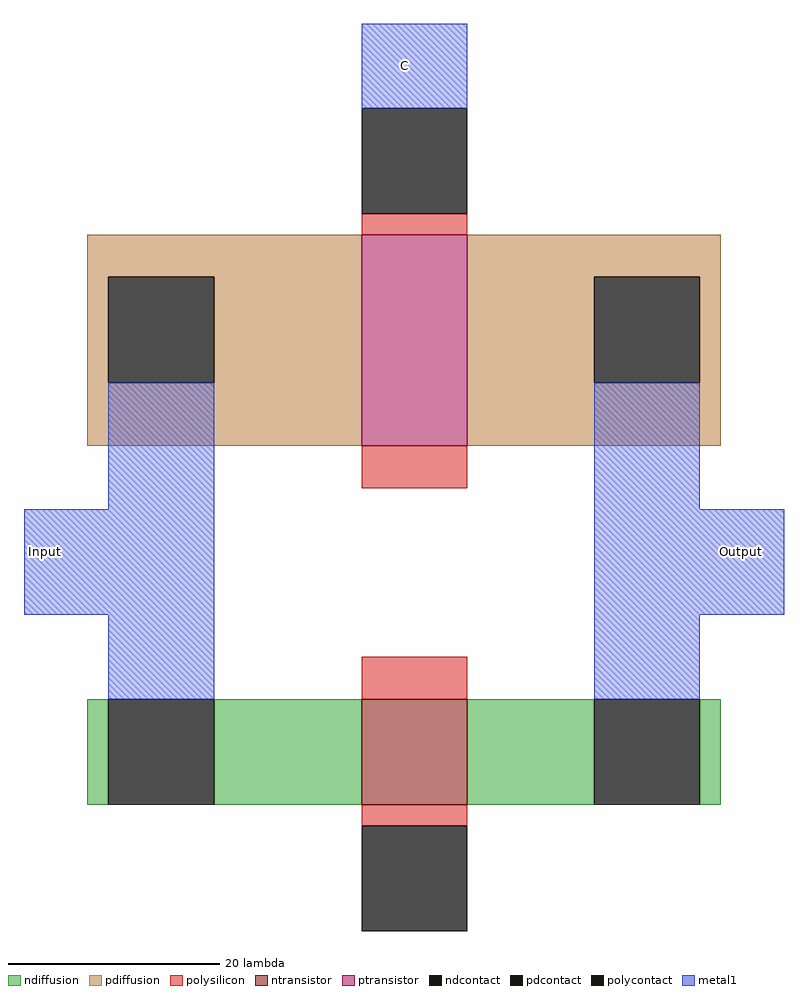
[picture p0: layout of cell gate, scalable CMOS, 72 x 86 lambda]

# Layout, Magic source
magic
tech scmos
<< polysilicon >>
rect 6 30 16 32
rect 6 6 16 10
rect 6 -14 16 -10
rect 6 -26 16 -24
<< ndiffusion >>
rect -20 -24 -18 -14
rect -8 -24 6 -14
rect 16 -24 28 -14
rect 38 -24 40 -14
<< pdiffusion >>
rect -20 26 6 30
rect -20 16 -18 26
rect -8 16 6 26
rect -20 10 6 16
rect 16 26 40 30
rect 16 16 28 26
rect 38 16 40 26
rect 16 10 40 16
<< metal1 >>
rect 6 42 16 50
rect -18 4 -8 16
rect -26 -6 -8 4
rect -18 -14 -8 -6
rect 28 4 38 16
rect 28 -6 46 4
rect 28 -14 38 -6
<< ntransistor >>
rect 6 -24 16 -14
<< ptransistor >>
rect 6 10 16 30
<< polycontact >>
rect 6 32 16 42
rect 6 -36 16 -26
<< ndcontact >>
rect -18 -24 -8 -14
rect 28 -24 38 -14
<< pdcontact >>
rect -18 16 -8 26
rect 28 16 38 26
<< labels >>
rlabel metal1 -24 0 -24 0 3 Input
rlabel metal1 42 0 42 0 7 Output
rlabel metal1 10 46 10 46 5 C
<< end >>
